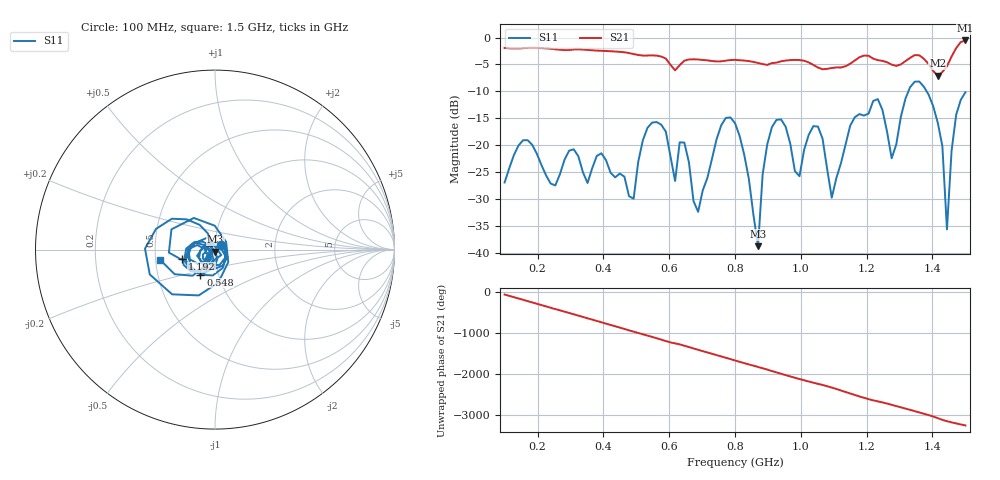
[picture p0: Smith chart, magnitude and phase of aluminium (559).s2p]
! NanoVNA-App
! Date: 2025-09-25 14:59:38
! Start: 100MHz Stop: 1,5GHz Points: 101
! S-Parameter data: F S11 S21 S12 S22
# Hz S RI R 50
!  Frequency  S11_Real  S11_Imag  S21_Real  S21_Imag  S12_Real  S12_Imag  S22_Real  S22_Imag
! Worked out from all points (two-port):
!   101 points, 100 MHz to 1.5 GHz, reference 50 ohm
!   highest |S21| = -0.53 dB at 1.5 GHz (marker M1); lowest = -7.1 dB at 1.416 GHz (marker M2)
!   |S21| within 3 dB of the highest: start of sweep to 576.3 MHz; 1.458 GHz to end of sweep (the widest 2 of 4)
!   lowest |S11| = -38.8 dB at 870 MHz (marker M3), VSWR 1.02, Z = 50.2 - j1.13 ohm
!   |S11| at or under -10 dB: start of sweep to 1.327 GHz; 1.382 GHz to end of sweep
!   S12 and S22 are empty: the file has one direction only
!   S11 on the Smith chart (normalised r, x): 100 MHz: 1.07, +0.06; 548 MHz: 0.82, -0.23; 1.192 GHz: 0.69, -0.07; 1.5 GHz: 0.53, -0.07
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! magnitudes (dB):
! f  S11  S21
! 100 MHz  -27.0  -1.9
! 156 MHz  -19.1  -2.0
! 338 MHz  -25.1  -2.2
! 492 MHz  -30.0  -3.1
! 548 MHz  -15.8  -3.3
! 576 MHz  -16.2  -3.5
! 646 MHz  -19.5  -4.3
! 688 MHz  -32.4  -4.1
! 800 MHz  -15.9  -4.1
! 870 MHz  -38.8  -4.7
! 912 MHz  -16.7  -4.7
! 996 MHz  -25.8  -4.2
! 1.038 GHz  -16.5  -5.1
! 1.094 GHz  -29.8  -5.7
! 1.192 GHz  -14.5  -3.4
! 1.234 GHz  -11.5  -4.2
! 1.276 GHz  -22.5  -5.0
! 1.346 GHz  -8.2  -3.3
! 1.416 GHz  -15.8  -7.1
! 1.444 GHz  -35.7  -5.3
! 1.472 GHz  -14.3  -2.0
! 1.5 GHz  -10.2  -0.5
